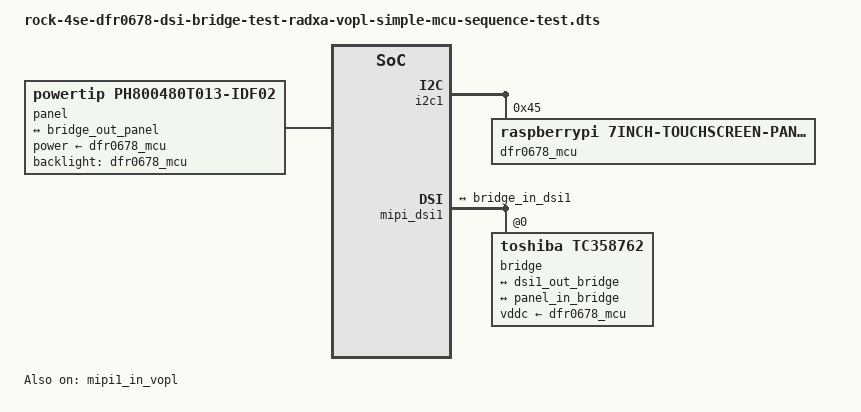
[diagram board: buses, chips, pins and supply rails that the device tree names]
// SPDX-License-Identifier: (GPL-2.0+ OR MIT)
/*
 * Experimental DFR0678 MCU power-sequence test.
 *
 * This preserves the Build 20 VOPL route, Powertip panel descriptor,
 * DSI0-sourced PLL, 696 Mbps/lane rate, and Radxa TC358762 setup. The
 * opt-in property adds the Radxa MCU screen power-up sequence; it is not a
 * production default and adds about 1.6 seconds to regulator enable.
 * Do not load with another overlay that claims I2C1 address 0x45.
 */

/dts-v1/;
/plugin/;

&{/} {
	panel {
		compatible = "powertip,ph800480t013-idf02";
		power-supply = <&dfr0678_mcu>;
		backlight = <&dfr0678_mcu>;

		port {
			panel_in_bridge: endpoint {
				remote-endpoint = <&bridge_out_panel>;
			};
		};
	};
};

&i2c1 {
	#address-cells = <1>;
	#size-cells = <0>;
	status = "okay";

	dfr0678_mcu: regulator@45 {
		compatible = "raspberrypi,7inch-touchscreen-panel-regulator";
		reg = <0x45>;
		radxa,screen-power-sequence;
	};
};

&mipi1_in_vopb {
	status = "disabled";
};

&mipi1_in_vopl {
	status = "okay";
};

&mipi_dsi1 {
	#address-cells = <1>;
	#size-cells = <0>;
	status = "okay";
	rockchip,dsi-dsi0 = <&mipi_dsi>;
	rockchip,lane-rate = <696>;

	bridge@0 {
		compatible = "toshiba,tc358762";
		reg = <0>;
		vddc-supply = <&dfr0678_mcu>;
		toshiba,radxa-init;

		ports {
			#address-cells = <1>;
			#size-cells = <0>;

			port@0 {
				reg = <0>;

				bridge_in_dsi1: endpoint {
					remote-endpoint = <&dsi1_out_bridge>;
				};
			};

			port@1 {
				reg = <1>;

				bridge_out_panel: endpoint {
					remote-endpoint = <&panel_in_bridge>;
				};
			};
		};
	};

	ports {
		#address-cells = <1>;
		#size-cells = <0>;

		port@1 {
			reg = <1>;

			dsi1_out_bridge: endpoint {
				remote-endpoint = <&bridge_in_dsi1>;
			};
		};
	};
};
